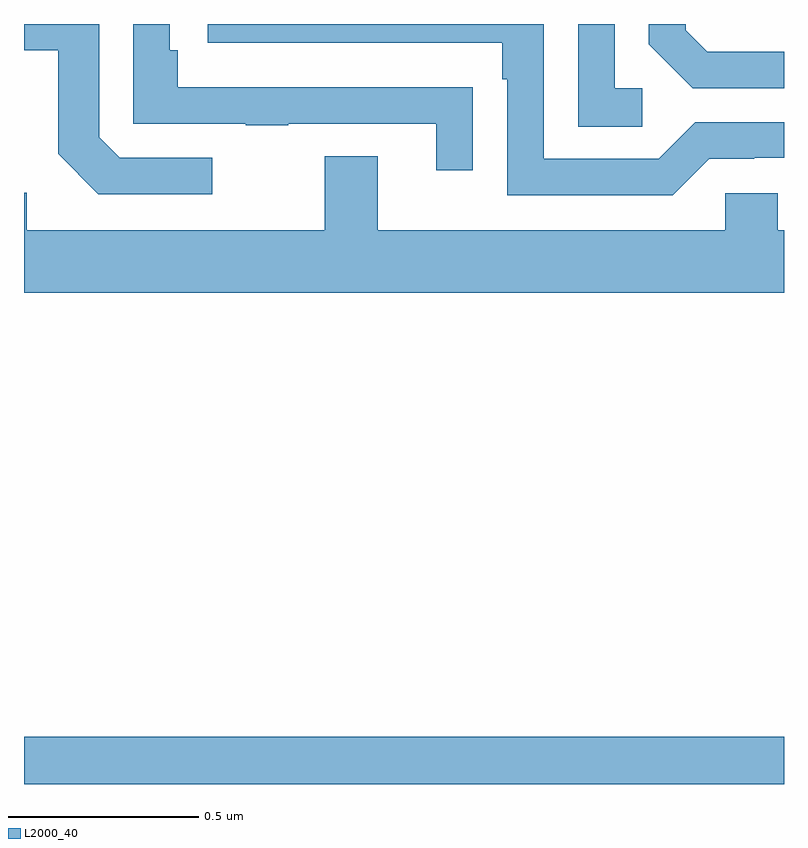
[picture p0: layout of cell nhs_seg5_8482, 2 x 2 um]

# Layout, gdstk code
import gdstk
lib = gdstk.Library(unit=1e-6, precision=1e-09)
def R(c, l, rs):  # rectangles x0, y0, x1, y1
    for r in rs: c.add(gdstk.rectangle(r[:2], r[2:], *l))
def P(c, l, *ps):  # polygons
    for p in ps: c.add(gdstk.Polygon(p, *l))
L2000_40 = (2000, 40)

nhs_seg5_8482 = lib.new_cell('nhs_seg5_8482')
R(nhs_seg5_8482, L2000_40, [(222,856.799,224,856.924)])
P(nhs_seg5_8482, L2000_40, [(223.803,858.444),(223.922,858.444),(223.922,858.447),(224,858.447),(224,858.54),(223.767,858.54),(223.671,858.444),(223.368,858.444),(223.368,858.799),(222.483,858.799),(222.483,858.75),(223.259,858.75),(223.259,858.653),(223.272,858.653),(223.272,858.348),(223.707,858.348)],
  [(224,858.726),(223.798,858.726),(223.741,858.783),(223.741,858.799),(223.644,858.799),(223.644,858.746),(223.76,858.63),(224,858.63)],
  [(223.627,858.63),(223.554,858.63),(223.554,858.799),(223.458,858.799),(223.458,858.529),(223.627,858.529)],
  [(223.181,858.632),(223.079,858.632),(223.079,858.633),(222.404,858.633),(222.404,858.73),(222.384,858.73),(222.384,858.799),(222.288,858.799),(222.288,858.537),(222.583,858.537),(222.583,858.532),(222.695,858.532),(222.695,858.537),(223.085,858.537),(223.085,858.414),(223.181,858.414)],
  [(222.496,858.447),(222.252,858.447),(222.198,858.501),(222.198,858.799),(222,858.799),(222,858.73),(222.09,858.73),(222.09,858.457),(222.195,858.351),(222.496,858.351)],
  [(224,858.256),(223.983,858.256),(223.983,858.354),(223.845,858.354),(223.845,858.256),(222.931,858.256),(222.931,858.451),(222.791,858.451),(222.791,858.256),(222.007,858.256),(222.007,858.355),(222,858.355),(222,858.092),(224,858.092)])

lib.write_gds('nhs_seg5_8482.gds')
